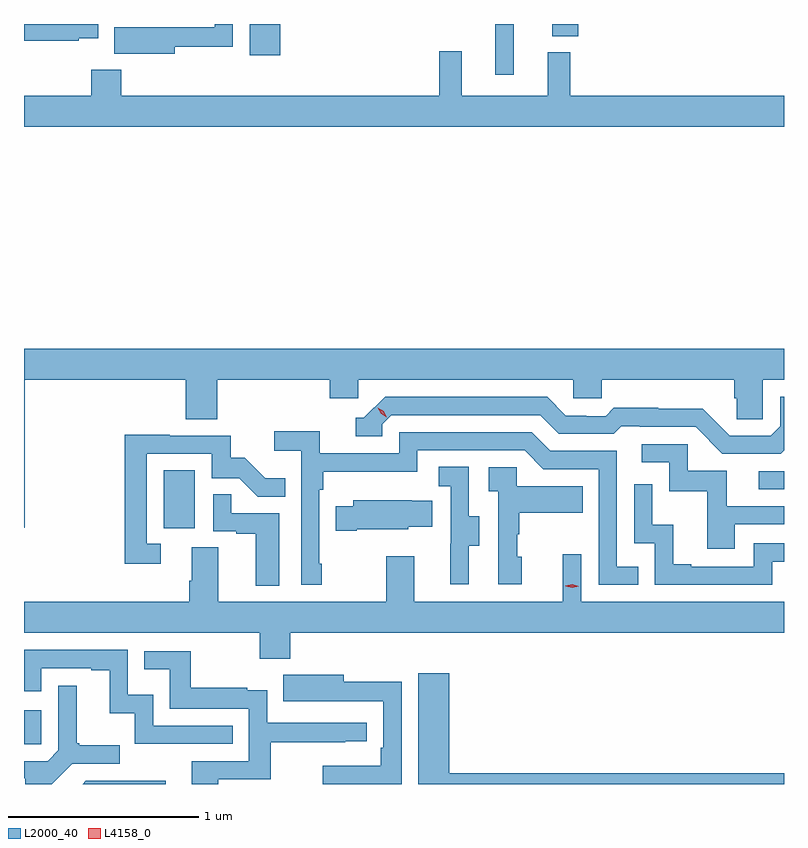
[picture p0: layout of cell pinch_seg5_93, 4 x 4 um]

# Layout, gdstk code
import gdstk
lib = gdstk.Library(unit=1e-6, precision=1e-09)
def R(c, l, rs):  # rectangles x0, y0, x1, y1
    for r in rs: c.add(gdstk.rectangle(r[:2], r[2:], *l))
def P(c, l, *ps):  # polygons
    for p in ps: c.add(gdstk.Polygon(p, *l))
L2000_40 = (2000, 40)
L4158_0 = (4158, 0)

pinch_seg5_93 = lib.new_cell('pinch_seg5_93')
R(pinch_seg5_93, L2000_40, [(1045.259,893.469,1045.35,893.649), (1045.994,894.606,1046.158,894.913), (1049.127,894.813,1049.259,894.906), (1047.74,896.994,1047.837,897.261), (1046.447,897.096,1046.608,897.261), (1048.04,897.197,1048.175,897.261)])
P(pinch_seg5_93, L2000_40, [(1046.053,897.142),(1046.358,897.142),(1046.358,897.261),(1046.262,897.261),(1046.262,897.243),(1045.949,897.243),(1045.949,897.244),(1045.735,897.244),(1045.735,897.104),(1046.053,897.104)],
  [(1045.547,897.185),(1045.65,897.185),(1045.65,897.261),(1045.259,897.261),(1045.259,897.174),(1045.547,897.174)],
  [(1049.259,896.884),(1048.133,896.884),(1048.133,897.112),(1048.016,897.112),(1048.016,896.884),(1047.563,896.884),(1047.563,897.118),(1047.445,897.118),(1047.445,896.884),(1045.772,896.884),(1045.772,897.019),(1045.612,897.019),(1045.612,896.884),(1045.259,896.884),(1045.259,896.72),(1049.259,896.72)],
  [(1045.262,895.388),(1046.111,895.388),(1046.111,895.18),(1046.276,895.18),(1046.276,895.388),(1046.867,895.388),(1046.867,895.29),(1047.018,895.29),(1047.018,895.388),(1048.149,895.388),(1048.149,895.29),(1048.299,895.29),(1048.299,895.388),(1048.997,895.388),(1048.997,895.29),(1049.011,895.29),(1049.011,895.18),(1049.148,895.18),(1049.148,895.388),(1049.259,895.388),(1049.259,895.552),(1045.259,895.552),(1045.259,894.609),(1045.262,894.609)],
  [(1049.259,895.017),(1049.259,895.299),(1049.238,895.299),(1049.238,895.143),(1049.19,895.095),(1048.974,895.095),(1048.832,895.237),(1048.596,895.237),(1048.596,895.24),(1048.363,895.24),(1048.321,895.197),(1048.218,895.197),(1048.218,895.2),(1048.111,895.2),(1048.012,895.299),(1047.159,895.299),(1047.048,895.188),(1047.005,895.188),(1047.005,895.092),(1047.144,895.092),(1047.144,895.155),(1047.192,895.203),(1047.975,895.203),(1048.074,895.104),(1048.363,895.104),(1048.402,895.143),(1048.501,895.143),(1048.501,895.14),(1048.794,895.14),(1048.935,894.999),(1049.241,894.999)],
  [(1046.827,894.421),(1046.814,894.421),(1046.814,894.809),(1046.834,894.809),(1046.834,894.905),(1047.33,894.905),(1047.33,895.017),(1047.894,895.017),(1047.993,894.918),(1048.284,894.918),(1048.284,894.309),(1048.493,894.309),(1048.493,894.405),(1048.38,894.405),(1048.38,895.014),(1048.03,895.014),(1047.931,895.113),(1047.234,895.113),(1047.234,895.002),(1046.816,895.002),(1046.816,895.118),(1046.577,895.118),(1046.577,895.016),(1046.718,895.016),(1046.718,894.309),(1046.827,894.309)],
  [(1045.978,894.525),(1045.905,894.525),(1045.905,894.999),(1046.247,894.999),(1046.247,894.87),(1046.392,894.87),(1046.49,894.772),(1046.633,894.772),(1046.633,894.871),(1046.529,894.871),(1046.422,894.978),(1046.346,894.978),(1046.346,895.095),(1046.027,895.095),(1046.027,895.1),(1045.789,895.1),(1045.789,894.42),(1045.978,894.42)],
  [(1048.999,894.627),(1049.259,894.627),(1049.259,894.723),(1048.957,894.723),(1048.957,894.909),(1048.752,894.909),(1048.752,895.05),(1048.509,895.05),(1048.509,894.954),(1048.656,894.954),(1048.656,894.801),(1048.855,894.801),(1048.855,894.498),(1048.999,894.498)],
  [(1047.601,894.514),(1047.655,894.514),(1047.655,894.669),(1047.6,894.669),(1047.6,894.932),(1047.441,894.932),(1047.441,894.829),(1047.504,894.829),(1047.504,894.525),(1047.503,894.525),(1047.503,894.312),(1047.601,894.312)],
  [(1047.88,894.456),(1047.855,894.456),(1047.855,894.575),(1047.865,894.575),(1047.865,894.689),(1048.199,894.689),(1048.199,894.829),(1047.852,894.829),(1047.852,894.927),(1047.705,894.927),(1047.705,894.803),(1047.756,894.803),(1047.756,894.312),(1047.88,894.312)],
  [(1049.196,894.432),(1049.259,894.432),(1049.259,894.528),(1049.1,894.528),(1049.1,894.405),(1048.771,894.405),(1048.771,894.418),(1048.676,894.418),(1048.676,894.626),(1048.566,894.626),(1048.566,894.838),(1048.47,894.838),(1048.47,894.528),(1048.578,894.528),(1048.578,894.309),(1049.196,894.309)],
  [(1046.602,894.687),(1046.351,894.687),(1046.351,894.785),(1046.256,894.785),(1046.256,894.591),(1046.377,894.591),(1046.377,894.579),(1046.48,894.579),(1046.48,894.305),(1046.602,894.305)],
  [(1047.01,894.602),(1047.282,894.602),(1047.282,894.614),(1047.407,894.614),(1047.407,894.751),(1047.299,894.751),(1047.299,894.754),(1046.993,894.754),(1046.993,894.724),(1046.899,894.724),(1046.899,894.595),(1047.01,894.595)],
  [(1046.66,894.056),(1049.259,894.056),(1049.259,894.22),(1048.191,894.22),(1048.191,894.469),(1048.094,894.469),(1048.094,894.22),(1047.313,894.22),(1047.313,894.46),(1047.166,894.46),(1047.166,894.22),(1046.281,894.22),(1046.281,894.506),(1046.141,894.506),(1046.141,894.332),(1046.129,894.332),(1046.129,894.22),(1045.259,894.22),(1045.259,894.056),(1046.5,894.056),(1046.5,893.921),(1046.66,893.921)],
  [(1046.357,893.568),(1045.938,893.568),(1045.938,893.731),(1045.806,893.731),(1045.806,893.967),(1045.259,893.967),(1045.259,893.748),(1045.35,893.748),(1045.35,893.871),(1045.613,893.871),(1045.613,893.859),(1045.709,893.859),(1045.709,893.633),(1045.842,893.633),(1045.842,893.472),(1046.357,893.472)],
  [(1046.281,893.286),(1046.558,893.286),(1046.558,893.482),(1046.951,893.482),(1046.951,893.487),(1047.064,893.487),(1047.064,893.583),(1046.538,893.583),(1046.538,893.755),(1046.435,893.755),(1046.435,893.767),(1046.137,893.767),(1046.137,893.961),(1045.891,893.961),(1045.891,893.864),(1046.026,893.864),(1046.026,893.658),(1046.442,893.658),(1046.442,893.382),(1046.141,893.382),(1046.141,893.261),(1046.281,893.261)],
  [(1049.259,893.318),(1047.496,893.318),(1047.496,893.845),(1047.335,893.845),(1047.335,893.261),(1049.259,893.261)],
  [(1047.246,893.798),(1046.941,893.798),(1046.941,893.836),(1046.623,893.836),(1046.623,893.696),(1046.837,893.696),(1046.837,893.697),(1047.15,893.697),(1047.15,893.452),(1047.137,893.452),(1047.137,893.356),(1046.832,893.356),(1046.832,893.261),(1047.246,893.261)],
  [(1045.512,893.367),(1045.762,893.367),(1045.762,893.464),(1045.549,893.464),(1045.549,893.476),(1045.537,893.476),(1045.537,893.779),(1045.44,893.779),(1045.44,893.439),(1045.383,893.382),(1045.259,893.382),(1045.259,893.29),(1045.265,893.29),(1045.265,893.261),(1045.406,893.261)],
  [(1046.005,893.279),(1045.8,893.279),(1045.8,893.277),(1045.584,893.277),(1045.568,893.261),(1046.005,893.261)])
P(pinch_seg5_93, L4158_0, [(1047.169,895.19),(1047.138,895.209),(1047.122,895.242),(1047.122,895.242),(1047.122,895.242),(1047.153,895.223),(1047.169,895.19),(1047.169,895.19)],
  [(1048.144,894.293),(1048.109,894.303),(1048.108,894.304),(1048.109,894.304),(1048.144,894.313),(1048.179,894.303),(1048.179,894.303),(1048.179,894.302)])

lib.write_gds('pinch_seg5_93.gds')
